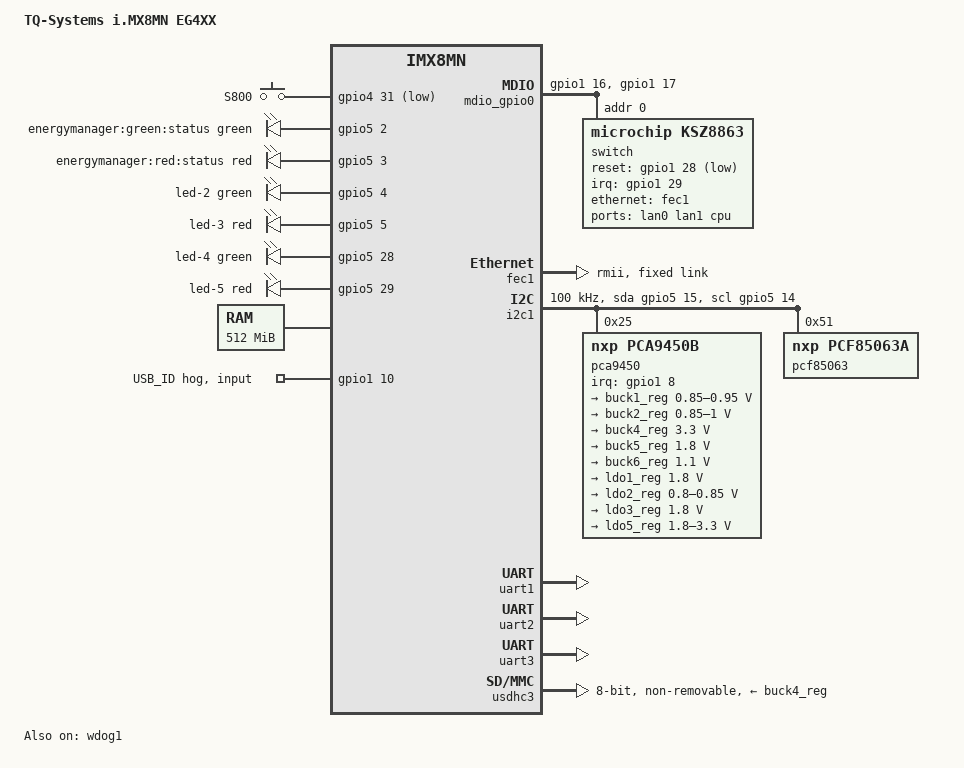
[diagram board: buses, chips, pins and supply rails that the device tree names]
// SPDX-License-Identifier: (GPL-2.0-or-later OR MIT)
/*
* Copyright (c) 2026 TQ-Systems GmbH <license@tq-group.com>, D-82229 Seefeld, Germany. All rights reserved.
* Author: Paul Gerber, Michael Krummsdorf
*/

/dts-v1/;

#include <dt-bindings/leds/common.h>
#include "imx8mn.dtsi"

/ {
	model = "TQ-Systems i.MX8MN EG4XX";
	compatible = "tq,imx8mn-eg4xx", "fsl,imx8mn";
	chassis-type = "embedded";

	aliases {
		mmc0 = &usdhc3;
		rtc0 = &pcf85063;
		rtc1 = &snvs_rtc;
	};

	chosen {
		stdout-path = &uart1;
	};

	gpio-keys {
		compatible = "gpio-keys";
		pinctrl-names = "default";
		pinctrl-0 = <&pinctrl_gpiobutton>;
		autorepeat;

		switch-1 {
			label = "S800";
			linux,code = <BTN_0>;
			gpios = <&gpio4 31 GPIO_ACTIVE_LOW>;
		};
	};

	gpio-leds {
		compatible = "gpio-leds";
		pinctrl-names = "default";
		pinctrl-0 = <&pinctrl_gpioled>;

		/* LED1_GN */
		led-0 {
			label = "energymanager:green:status";
			color = <LED_COLOR_ID_GREEN>;
			function = LED_FUNCTION_STATUS;
			function-enumerator = <0>;
			gpios = <&gpio5 2 GPIO_ACTIVE_HIGH>;
		};

		/* LED1_RD */
		led-1 {
			label = "energymanager:red:status";
			color = <LED_COLOR_ID_RED>;
			function = LED_FUNCTION_STATUS;
			function-enumerator = <1>;
			gpios = <&gpio5 3 GPIO_ACTIVE_HIGH>;
		};

		/* LED2_GN */
		led-2 {
			color = <LED_COLOR_ID_GREEN>;
			function = LED_FUNCTION_STATUS;
			function-enumerator = <2>;
			gpios = <&gpio5 4 GPIO_ACTIVE_HIGH>;
		};

		/* LED2_RD */
		led-3 {
			color = <LED_COLOR_ID_RED>;
			function = LED_FUNCTION_STATUS;
			function-enumerator = <3>;
			gpios = <&gpio5 5 GPIO_ACTIVE_HIGH>;
		};

		/* LED3_GN */
		led-4 {
			color = <LED_COLOR_ID_GREEN>;
			function = LED_FUNCTION_STATUS;
			function-enumerator = <4>;
			gpios = <&gpio5 28 GPIO_ACTIVE_HIGH>;
		};

		/* LED3_RD */
		led-5 {
			color = <LED_COLOR_ID_RED>;
			function = LED_FUNCTION_STATUS;
			function-enumerator = <5>;
			gpios = <&gpio5 29 GPIO_ACTIVE_HIGH>;
		};
	};

	mdio_gpio0: mdio {
		compatible = "microchip,mdio-smi0";
		#address-cells = <1>;
		#size-cells = <0>;
		pinctrl-names = "default";
		pinctrl-0 = <&pinctrl_fec1smi>,
			    <&pinctrl_fec1phy>;

		gpios = <&gpio1 16 GPIO_ACTIVE_HIGH>,
			<&gpio1 17 GPIO_ACTIVE_HIGH>;

		switch@0 {
			compatible = "microchip,ksz8863";
			reg = <0>;
			interrupt-parent = <&gpio1>;
			interrupts = <29 IRQ_TYPE_LEVEL_LOW>;
			reset-gpios = <&gpio1 28 GPIO_ACTIVE_LOW>;
			microchip,io-drive-strength-microamp = <8000>;

			ports {
				#address-cells = <1>;
				#size-cells = <0>;

				lan0: port@0 {
					reg = <0>;
					label = "lan0";
					phy-mode = "internal";
				};

				lan1: port@1 {
					reg = <1>;
					label = "lan1";
					phy-mode = "internal";
				};

				port@2 {
					reg = <2>;
					label = "cpu";
					ethernet = <&fec1>;
					phy-mode = "rmii";
					microchip,rmii-clk-internal;

					fixed-link {
						speed = <100>;
						full-duplex;
					};
				};
			};
		};
	};

	memory@40000000 {
		device_type = "memory";
		/*  RAM size 512 MiB */
		reg = <0x00000000 0x40000000 0 0x20000000>;
	};
};

&A53_0 {
	cpu-supply = <&buck2_reg>;
};

&ecspi1 {
	pinctrl-names = "default";
	pinctrl-0 = <&pinctrl_ecspi1>;
	cs-gpios = <&gpio5 17 GPIO_ACTIVE_LOW>;

	/* WILCS02PE SPI WiFi module, not placed */
};

&ecspi2 {
	pinctrl-names = "default";
	pinctrl-0 = <&pinctrl_ecspi2>;

	tpm@0 {
		compatible = "infineon,slb9670", "tcg,tpm_tis-spi";
		pinctrl-names = "default";
		pinctrl-0 = <&pinctrl_tpm>;
		reg = <0>;

		reset-gpios = <&gpio5 16 GPIO_ACTIVE_LOW>;
		interrupt-parent = <&gpio5>;
		interrupts = <18 IRQ_TYPE_LEVEL_LOW>;

		status = "disabled"; /* Not placed */
	};
};

&fec1 {
	pinctrl-names = "default";
	pinctrl-0 = <&pinctrl_fec1>;
	phy-connection-type = "rmii";
	status = "okay";

	fixed-link {
		speed = <100>;
		full-duplex;
	};
};

&gpio1 {
	pinctrl-names = "default";
	pinctrl-0 = <&pinctrl_gpio1>;

	gpio-line-names = "IS_EG4XX", "", "WDOG#", "",		/*  0 ..  3 */
			  "", "", "", "",			/*  4 ..  7 */
			  "IRQ#", "", "USB_ID", "",		/*  8 .. 11 */
			  "energymanager:vbus:enable", "energymanager:vbus:fault#", "", "",	/* 12 .. 15 */
			  "", "", "", "",			/* 16 .. 19 */
			  "", "", "", "",			/* 20 .. 23 */
			  "", "", "", "",			/* 24 .. 27 */
			  "", "", "", "";			/* 28 .. 31 */

	usb-id-hog {
		gpio-hog;
		gpios = <10 GPIO_ACTIVE_HIGH>;
		input;
		line-name = "USB_ID";
	};
};

&gpio4 {
	pinctrl-names = "default";
	pinctrl-0 = <&pinctrl_gpio4>;

	gpio-line-names = "", "", "", "",				/*  0 ..  3 */
			  "", "", "", "",				/*  4 ..  7 */
			  "", "", "", "",				/*  8 .. 11 */
			  "", "", "", "",				/* 12 .. 15 */
			  "", "", "", "",				/* 16 .. 19 */
			  "", "ZIGBEE_RESET#", "HW.VER0", "HW.VER1",	/* 20 .. 23 */
			  "HW.VER2", "HW.VER3", "", "HW.REV0",		/* 24 .. 27 */
			  "HW.REV1", "", "HW.REV2", "BUTTON#";		/* 28 .. 31 */
};

&gpio5 {
	gpio-line-names = "", "", "LED1_GN", "LED1_RD",		/*  0 ..  3 */
			  "LED2_GN", "LED2_RD", "", "",		/*  4 ..  7 */
			  "", "", "", "",			/*  8 .. 11 */
			  "", "", "", "",			/* 12 .. 15 */
			  "TPM_RST#", "", "TPM_PIRQ#", "MCLR#",	/* 16 .. 19 */
			  "INTOUT", "", "", "",			/* 20 .. 23 */
			  "", "", "", "",			/* 24 .. 27 */
			  "LED3_GN", "LED3_RD", "", "";		/* 28 .. 31 */
};

&i2c1 {
	clock-frequency = <100000>;
	pinctrl-names = "default", "gpio";
	pinctrl-0 = <&pinctrl_i2c1>;
	pinctrl-1 = <&pinctrl_i2c1_gpio>;
	scl-gpios = <&gpio5 14 (GPIO_ACTIVE_HIGH | GPIO_OPEN_DRAIN)>;
	sda-gpios = <&gpio5 15 (GPIO_ACTIVE_HIGH | GPIO_OPEN_DRAIN)>;
	status = "okay";

	pca9450: pmic@25 {
		compatible = "nxp,pca9450b";
		reg = <0x25>;

		/* PMIC PCA9450 PMIC_nINT GPIO1_IO08 */
		pinctrl-0 = <&pinctrl_pmic>;
		pinctrl-names = "default";
		interrupt-parent = <&gpio1>;
		interrupts = <8 IRQ_TYPE_LEVEL_LOW>;

		regulators {
			/* V_0V85_SOC: 0.85 .. 0.95 */
			buck1_reg: BUCK1 {
				regulator-name = "BUCK1";
				regulator-min-microvolt = <850000>;
				regulator-max-microvolt = <950000>;
				regulator-boot-on;
				regulator-always-on;
				regulator-ramp-delay = <3125>;
			};

			/* V_0V85_ARM */
			buck2_reg: BUCK2 {
				regulator-name = "BUCK2";
				regulator-min-microvolt = <850000>;
				regulator-max-microvolt = <1000000>;
				regulator-boot-on;
				regulator-always-on;
				nxp,dvs-run-voltage = <950000>;
				nxp,dvs-standby-voltage = <850000>;
				regulator-ramp-delay = <3125>;
			};

			/* V_3V3 -> VMMC, ... must not be changed */
			buck4_reg: BUCK4 {
				regulator-name = "BUCK4";
				regulator-min-microvolt = <3300000>;
				regulator-max-microvolt = <3300000>;
				regulator-boot-on;
				regulator-always-on;
			};

			/* V_1V8 -> VQMMC, ... must not be changed */
			buck5_reg: BUCK5 {
				regulator-name = "BUCK5";
				regulator-min-microvolt = <1800000>;
				regulator-max-microvolt = <1800000>;
				regulator-boot-on;
				regulator-always-on;
			};

			/* V_1V1 -> RAM, ... must not be changed */
			buck6_reg: BUCK6 {
				regulator-name = "BUCK6";
				regulator-min-microvolt = <1100000>;
				regulator-max-microvolt = <1100000>;
				regulator-boot-on;
				regulator-always-on;
			};

			/* V_1V8_SNVS */
			ldo1_reg: LDO1 {
				regulator-name = "LDO1";
				regulator-min-microvolt = <1800000>;
				regulator-max-microvolt = <1800000>;
				regulator-boot-on;
				regulator-always-on;
			};

			/* V_0V8_SNVS */
			ldo2_reg: LDO2 {
				regulator-name = "LDO2";
				regulator-min-microvolt = <800000>;
				regulator-max-microvolt = <850000>;
				regulator-boot-on;
				regulator-always-on;
			};

			/* V_1V8_ANA */
			ldo3_reg: LDO3 {
				regulator-name = "LDO3";
				regulator-min-microvolt = <1800000>;
				regulator-max-microvolt = <1800000>;
				regulator-boot-on;
				regulator-always-on;
			};

			/* not used */
			ldo5_reg: LDO5 {
				regulator-name = "LDO5";
				regulator-min-microvolt = <1800000>;
				regulator-max-microvolt = <3300000>;
			};
		};
	};

	pcf85063: rtc@51 {
		compatible = "nxp,pcf85063a";
		reg = <0x51>;
		quartz-load-femtofarads = <7000>;
	};
};

&uart1 {
	pinctrl-names = "default";
	pinctrl-0 = <&pinctrl_uart1>;
	status = "okay";
};

&uart2 {
	pinctrl-names = "default";
	pinctrl-0 = <&pinctrl_uart2>;
	assigned-clocks = <&clk IMX8MN_CLK_UART2>;
	assigned-clock-parents = <&clk IMX8MN_SYS_PLL1_80M>;
	linux,rs485-enabled-at-boot-time;
	uart-has-rtscts;
	status = "okay";
};

&uart3 {
	pinctrl-names = "default";
	pinctrl-0 = <&pinctrl_uart3>;
	assigned-clocks = <&clk IMX8MN_CLK_UART3>;
	assigned-clock-parents = <&clk IMX8MN_SYS_PLL1_80M>;
	uart-has-rtscts;
	status = "okay";
};

&usdhc3 {
	pinctrl-names = "default", "state_100mhz", "state_200mhz";
	pinctrl-0 = <&pinctrl_usdhc3>;
	pinctrl-1 = <&pinctrl_usdhc3_100mhz>;
	pinctrl-2 = <&pinctrl_usdhc3_200mhz>;
	bus-width = <8>;
	non-removable;
	no-sd;
	no-sdio;
	vmmc-supply = <&buck4_reg>;
	vqmmc-supply = <&buck5_reg>;
	status = "okay";
};

/*
 * Attention:
 * wdog reset is routed to PMIC, PMIC must be preconfigured to force POR
 * without LDO for SNVS. GPIO1_IO02 must not be used as GPIO.
 */
&wdog1 {
	pinctrl-names = "default";
	pinctrl-0 = <&pinctrl_wdog>;
	fsl,ext-reset-output;
	status = "okay";
};

&iomuxc {
	pinctrl_ecspi1: ecspi1grp {
		fsl,pins = <MX8MN_IOMUXC_ECSPI1_SCLK_ECSPI1_SCLK	0x0>,
			   <MX8MN_IOMUXC_ECSPI1_MOSI_ECSPI1_MOSI	0x40000040>,
			   <MX8MN_IOMUXC_ECSPI1_MISO_ECSPI1_MISO	0x0>,
			   <MX8MN_IOMUXC_I2C2_SDA_GPIO5_IO17		0x0>;
	};

	pinctrl_ecspi2: ecspi2grp {
		fsl,pins = <MX8MN_IOMUXC_ECSPI2_SCLK_ECSPI2_SCLK	0x0>,
			   <MX8MN_IOMUXC_ECSPI2_MOSI_ECSPI2_MOSI	0x40000040>,
			   <MX8MN_IOMUXC_ECSPI2_MISO_ECSPI2_MISO	0x0>,
			   <MX8MN_IOMUXC_ECSPI2_SS0_GPIO5_IO13		0x0>;
	};

	pinctrl_fec1: fec1grp {
		fsl,pins = <MX8MN_IOMUXC_ENET_TD2_CCMSRCGPCMIX_ENET_REF_CLK_ROOT	0x10>,
			   <MX8MN_IOMUXC_ENET_TD1_ENET1_RGMII_TD1			0x10>,
			   <MX8MN_IOMUXC_ENET_TD0_ENET1_RGMII_TD0			0x10>,
			   <MX8MN_IOMUXC_ENET_RD1_ENET1_RGMII_RD1			0x40000080>,
			   <MX8MN_IOMUXC_ENET_RD0_ENET1_RGMII_RD0			0x40000080>,
			   <MX8MN_IOMUXC_ENET_RX_CTL_ENET1_RGMII_RX_CTL			0x40000080>,
			   <MX8MN_IOMUXC_ENET_TX_CTL_ENET1_RGMII_TX_CTL			0x10>;
	};

	pinctrl_fec1smi: fec1smigrp {
		fsl,pins = <MX8MN_IOMUXC_ENET_MDC_GPIO1_IO16		0x0>,
			   <MX8MN_IOMUXC_ENET_MDIO_GPIO1_IO17		0x40000040>;
	};

	pinctrl_fec1phy: fec1phygrp {
		fsl,pins = <MX8MN_IOMUXC_ENET_RD2_GPIO1_IO28	0x0>,
			   <MX8MN_IOMUXC_ENET_RD3_GPIO1_IO29	0x40000040>;
	};

	pinctrl_gpio1: gpio1grp {
		fsl,pins = <MX8MN_IOMUXC_GPIO1_IO00_GPIO1_IO0		0x40000040>;
	};

	pinctrl_gpio4: gpio4grp {
		fsl,pins = <MX8MN_IOMUXC_SAI2_RXFS_GPIO4_IO21	0x40000040>,
			   <MX8MN_IOMUXC_SAI2_RXC_GPIO4_IO22	0x40000040>,
			   <MX8MN_IOMUXC_SAI2_RXD0_GPIO4_IO23	0x40000040>,
			   <MX8MN_IOMUXC_SAI2_TXFS_GPIO4_IO24	0x40000040>,
			   <MX8MN_IOMUXC_SAI2_TXC_GPIO4_IO25	0x40000040>,
			   <MX8MN_IOMUXC_SAI2_MCLK_GPIO4_IO27	0x40000040>,
			   <MX8MN_IOMUXC_SAI3_RXFS_GPIO4_IO28	0x40000040>,
			   <MX8MN_IOMUXC_SAI3_RXD_GPIO4_IO30	0x40000040>;
	};

	pinctrl_gpiobutton: gpiobuttongrp {
		fsl,pins = <MX8MN_IOMUXC_SAI3_TXFS_GPIO4_IO31	0x40000040>;
	};

	pinctrl_gpioled: gpioledgrp {
		fsl,pins = <MX8MN_IOMUXC_SAI3_MCLK_GPIO5_IO2		0x0>,
			   <MX8MN_IOMUXC_SPDIF_TX_GPIO5_IO3		0x0>,
			   <MX8MN_IOMUXC_SPDIF_RX_GPIO5_IO4		0x0>,
			   <MX8MN_IOMUXC_SPDIF_EXT_CLK_GPIO5_IO5	0x0>,
			   <MX8MN_IOMUXC_UART4_RXD_GPIO5_IO28		0x0>,
			   <MX8MN_IOMUXC_UART4_TXD_GPIO5_IO29		0x0>;
	};

	pinctrl_i2c1: i2c1grp {
		fsl,pins = <MX8MN_IOMUXC_I2C1_SCL_I2C1_SCL		0x400001c0>,
			   <MX8MN_IOMUXC_I2C1_SDA_I2C1_SDA		0x400001c0>;
	};

	pinctrl_i2c1_gpio: i2c1gpiogrp {
		fsl,pins = <MX8MN_IOMUXC_I2C1_SCL_GPIO5_IO14	0x400001c0>,
			   <MX8MN_IOMUXC_I2C1_SDA_GPIO5_IO15	0x400001c0>;
	};

	pinctrl_pmic: pmicgrp {
		/* IRQ# */
		fsl,pins = <MX8MN_IOMUXC_GPIO1_IO08_GPIO1_IO8	0x0>;
	};


	pinctrl_tpm: tpmgrp {
		/* TPM_RST# */
		fsl,pins = <MX8MN_IOMUXC_I2C2_SCL_GPIO5_IO16	0x0>,
		/* TPM_PIRQ# */
			   <MX8MN_IOMUXC_I2C3_SCL_GPIO5_IO18	0x40000040>;
	};

	pinctrl_uart1: uart1grp {
		fsl,pins = <MX8MN_IOMUXC_UART1_RXD_UART1_DCE_RX		0x40000040>,
			   <MX8MN_IOMUXC_UART1_TXD_UART1_DCE_TX		0x0>;
	};

	pinctrl_uart2: uart2grp {
		fsl,pins = <MX8MN_IOMUXC_UART2_RXD_UART2_DCE_RX		0x40000040>,
			   <MX8MN_IOMUXC_UART2_TXD_UART2_DCE_TX		0x0>,
			   <MX8MN_IOMUXC_SAI3_RXC_UART2_DCE_CTS_B	0x0>;
	};

	pinctrl_uart3: uart3grp {
		fsl,pins = <MX8MN_IOMUXC_UART3_RXD_UART3_DCE_RX		0x40000040>,
			   <MX8MN_IOMUXC_UART3_TXD_UART3_DCE_TX		0x0>,
			   <MX8MN_IOMUXC_SD1_RESET_B_UART3_DCE_RTS_B	0x40000040>,
			   <MX8MN_IOMUXC_SD1_STROBE_UART3_DCE_CTS_B	0x0>;
	};

	pinctrl_usdhc3: usdhc3grp {
		fsl,pins = <MX8MN_IOMUXC_NAND_WE_B_USDHC3_CLK		0x1d0>,
			   <MX8MN_IOMUXC_NAND_WP_B_USDHC3_CMD		0x1d0>,
			   <MX8MN_IOMUXC_NAND_DATA04_USDHC3_DATA0	0x1d0>,
			   <MX8MN_IOMUXC_NAND_DATA05_USDHC3_DATA1	0x1d0>,
			   <MX8MN_IOMUXC_NAND_DATA06_USDHC3_DATA2	0x1d0>,
			   <MX8MN_IOMUXC_NAND_DATA07_USDHC3_DATA3	0x1d0>,
			   <MX8MN_IOMUXC_NAND_RE_B_USDHC3_DATA4		0x1d0>,
			   <MX8MN_IOMUXC_NAND_CE2_B_USDHC3_DATA5	0x1d0>,
			   <MX8MN_IOMUXC_NAND_CE3_B_USDHC3_DATA6	0x1d0>,
			   <MX8MN_IOMUXC_NAND_CLE_USDHC3_DATA7		0x1d0>,
			   <MX8MN_IOMUXC_NAND_CE1_B_USDHC3_STROBE	0x1d0>,
			   <MX8MN_IOMUXC_NAND_READY_B_USDHC3_RESET_B	0x0>;
	};

	pinctrl_usdhc3_100mhz: usdhc3-100mhzgrp {
		fsl,pins = <MX8MN_IOMUXC_NAND_WE_B_USDHC3_CLK		0x1d2>,
			   <MX8MN_IOMUXC_NAND_WP_B_USDHC3_CMD		0x1d2>,
			   <MX8MN_IOMUXC_NAND_DATA04_USDHC3_DATA0	0x1d2>,
			   <MX8MN_IOMUXC_NAND_DATA05_USDHC3_DATA1	0x1d2>,
			   <MX8MN_IOMUXC_NAND_DATA06_USDHC3_DATA2	0x1d2>,
			   <MX8MN_IOMUXC_NAND_DATA07_USDHC3_DATA3	0x1d2>,
			   <MX8MN_IOMUXC_NAND_RE_B_USDHC3_DATA4		0x1d2>,
			   <MX8MN_IOMUXC_NAND_CE2_B_USDHC3_DATA5	0x1d2>,
			   <MX8MN_IOMUXC_NAND_CE3_B_USDHC3_DATA6	0x1d2>,
			   <MX8MN_IOMUXC_NAND_CLE_USDHC3_DATA7		0x1d2>,
			   <MX8MN_IOMUXC_NAND_CE1_B_USDHC3_STROBE	0x1d2>,
			   <MX8MN_IOMUXC_NAND_READY_B_USDHC3_RESET_B	0x0>;
	};

	pinctrl_usdhc3_200mhz: usdhc3-200mhzgrp {
		fsl,pins = <MX8MN_IOMUXC_NAND_WE_B_USDHC3_CLK		0x1d1>,
			   <MX8MN_IOMUXC_NAND_WP_B_USDHC3_CMD		0x1d1>,
			   <MX8MN_IOMUXC_NAND_DATA04_USDHC3_DATA0	0x1d1>,
			   <MX8MN_IOMUXC_NAND_DATA05_USDHC3_DATA1	0x1d1>,
			   <MX8MN_IOMUXC_NAND_DATA06_USDHC3_DATA2	0x1d1>,
			   <MX8MN_IOMUXC_NAND_DATA07_USDHC3_DATA3	0x1d1>,
			   <MX8MN_IOMUXC_NAND_RE_B_USDHC3_DATA4		0x1d1>,
			   <MX8MN_IOMUXC_NAND_CE2_B_USDHC3_DATA5	0x1d1>,
			   <MX8MN_IOMUXC_NAND_CE3_B_USDHC3_DATA6	0x1d1>,
			   <MX8MN_IOMUXC_NAND_CLE_USDHC3_DATA7		0x1d1>,
			   <MX8MN_IOMUXC_NAND_CE1_B_USDHC3_STROBE	0x1d1>,
			   <MX8MN_IOMUXC_NAND_READY_B_USDHC3_RESET_B	0x0>;
	};

	pinctrl_wdog: wdoggrp {
		fsl,pins = <MX8MN_IOMUXC_GPIO1_IO02_WDOG1_WDOG_B	0x0>;
	};
};
